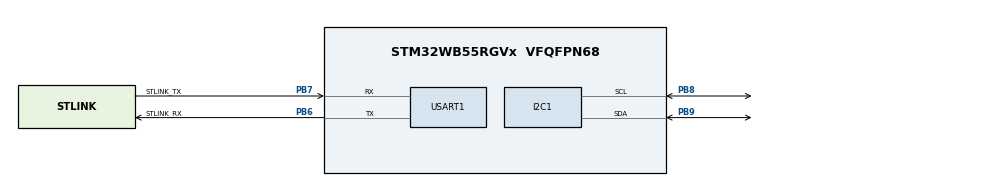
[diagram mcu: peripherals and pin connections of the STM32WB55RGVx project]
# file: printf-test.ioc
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Mcu.Family=STM32WB
PB7.GPIO_PuPd=GPIO_PULLUP
RCC.CortexFreq_Value=64000000
NVIC.I2C1_EV_IRQn=true\:0\:0\:false\:false\:true\:true\:true
PB6.GPIO_PuPd=GPIO_PULLUP
VP_TIM16_VS_ClockSourceINT.Mode=Enable_Timer
PB6.GPIO_Label=STLINK_RX
RCC.AHB2CLKDivider=RCC_SYSCLK_DIV2
RCC.SYSCLKSource=RCC_SYSCLKSOURCE_PLLCLK
ProjectManager.StackSize=0x400
USART1.VirtualMode-Asynchronous=VM_ASYNC
PA13.Signal=SYS_JTMS-SWDIO
ProjectManager.TargetToolchain=STM32CubeIDE
RCC.HCLKFreq_Value=64000000
PB9.Mode=I2C
RCC.APB2TimFreq_Value=64000000
PB6.Signal=USART1_TX
I2C1.Timing=0x10707DBC
PB6.Mode=Asynchronous
RCC.LSE_VALUE=32768
RCC.AHBFreq_Value=64000000
RCC.HSE_VALUE=8000000
PB3.Mode=Trace_Asynchronous_SW
board=custom
RCC.Cortex2_Div=SYSTICK_CLKSOURCE_HCLK_DIV8
RCC.VCOOutputFreq_Value=128000000
TIM16.Period=9999
RCC.APB2Freq_Value=64000000
PA14.Mode=Trace_Asynchronous_SW
PB7.Signal=USART1_RX
PA13.Mode=Trace_Asynchronous_SW
NVIC.I2C1_ER_IRQn=true\:0\:0\:false\:false\:true\:true\:true
Mcu.Name=STM32WB55RGVx
RCC.APB3Freq_Value=16000000
PB7.GPIO_Label=STLINK_TX
PB3.Signal=SYS_JTDO-SWO
RCC.SYSCLKFreq_VALUE=64000000
PB9.Signal=I2C1_SDA
Mcu.Package=VFQFPN68
PB7.Mode=Asynchronous
PA14.Signal=SYS_JTCK-SWCLK
ProjectManager.HeapSize=0x200
RCC.HSI_VALUE=16000000
NVIC.TIM1_UP_TIM16_IRQn=true\:0\:0\:false\:false\:true\:true\:true
NVIC.PriorityGroup=NVIC_PRIORITYGROUP_4
PB9.GPIO_Speed=GPIO_SPEED_FREQ_VERY_HIGH
PB8.Mode=I2C
RCC.PLLN=32
TIM16.AutoReloadPreload=TIM_AUTORELOAD_PRELOAD_ENABLE
RCC.APB1TimFreq_Value=64000000
PB8.Signal=I2C1_SCL
TIM16.Prescaler=3199
NVIC.USART1_IRQn=true\:0\:0\:false\:false\:true\:true\:true
RCC.APB1Freq_Value=64000000
PB8.GPIO_Speed=GPIO_SPEED_FREQ_VERY_HIGH
RCC.HSI48_VALUE=48000000

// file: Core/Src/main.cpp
/* USER CODE BEGIN Header */
/**
  ******************************************************************************
  * @file           : main.c
  * @brief          : Main program body
  ******************************************************************************
  * @attention
  *
  * <h2><center>&copy; Copyright (c) 2021 STMicroelectronics.
  * All rights reserved.</center></h2>
  *
  * This software component is licensed by ST under BSD 3-Clause license,
  * the "License"; You may not use this file except in compliance with the
  * License. You may obtain a copy of the License at:
  *                        opensource.org/licenses/BSD-3-Clause
  *
  ******************************************************************************
  */
/* USER CODE END Header */
#include "main.h"
#include "i2c.h"
#include "tim.h"
#include "usart.h"
#include "gpio.h"

/* USER CODE BEGIN Includes */
#include <stdio.h>

#include "printf_to_uart.c"
#include "Imu.hpp"
/* USER CODE END Includes */

/* USER CODE BEGIN PV */
//-====
//-====
/*flags*/
uint8_t MPU9250_DataRdyFlag = 0;
uint8_t initDataRdy = 0;
uint8_t magCalibrateFlag = 1;

/*mag calibration data*/
static float mx_centre;
static float my_centre;
static float mz_centre;

float Axyz[3];
float Gxyz[3];
float Mxyz[3];

float gravity[3];
float MagConst[3];
float gyroBias[3];
//====
//====
/* USER CODE END PV */

void SystemClock_Config(void);
/* USER CODE BEGIN PFP */
//-====
//-====
void getGyroData();
void getAccelData();
void getCompassData();
void getRawCompassData();
void calibrateMag();
void getRawGyroData();
//====
//====
/* USER CODE END PFP */

/* USER CODE BEGIN 0 */
//-====
Imu *myMPU = new Imu (&hi2c1);
//====
/* USER CODE END 0 */

int main(void)
{

  /* MCU Configuration--------------------------------------------------------*/

  /* Reset of all peripherals, Initializes the Flash interface and the Systick. */
  HAL_Init();

  /* Configure the system clock */
  SystemClock_Config();

  /* Initialize all configured peripherals */
  MX_GPIO_Init();
  MX_TIM16_Init();
  MX_USART1_UART_Init();
  MX_I2C1_Init();
  /* USER CODE BEGIN 2 */

//  -====
//  -====Uruchomienie TIM16
  HAL_TIM_Base_Start_IT(&htim16);

  uint8_t deviceID;
  deviceID = myMPU->getDeviceID();
  if (deviceID == 0x71)
  {
	  myMPU->initialize();//initialize
  }
  else
  {
	  printf("ID wrong");
	  return 0;
  }

  printf("Device OK, reading data \r\n");
//  ====
//  ====

  /* USER CODE END 2 */

  /* Infinite loop */
  /* USER CODE BEGIN WHILE */
//  -====
//  -====
  if(magCalibrateFlag)
  {
	  calibrateMag();
	  printf("Mag Calibration done! \r\n");
	  HAL_Delay(4000);
	  printf("Put the device to rest!! \r\n");
  }

  HAL_Delay(4000);

  //enable interrupt
  myMPU->enableInterrupt();

  uint8_t counter = 0;

  float sMag[3] = {0.0f,0.0f,0.0f};
  float sAcc[3] = {0.0f,0.0f,0.0f};
  float sGyro[3] = {0.0f,0.0f,0.0f};
  myMPU->readIntStatus();
  while (1)
  {
//	  if (!initDataRdy)
//	  {
//		  if (MPU9250_DataRdyFlag)
//		  {
//			  getRawGyroData();
//			  getAccelData();
//			  getCompassData();
//			  if(counter<100)
//			  {
//				  for (int i=0;i<3;i++)
//				  {
//					  sMag[i] = sMag[i] + Mxyz[i];
//					  sAcc[i] = sAcc[i] + Axyz[i];
//					  sGyro[i] = sGyro[i] + Gxyz[i];
//				  }
//				  counter = counter+1;
//			  }
//			  if (counter==100)
//			  {
//				  for (int i=0;i<3;i++)
//				  {
//					  MagConst[i] = sMag[i]/100;
//					  gravity[i] = sAcc[i]/100;
//					  gyroBias[i] = sGyro[i]/100;
//				  }
//				  initDataRdy = 1;
//			  }
//		  }
//		  else
//		  {
//			  /*data not ready*/
////			  printf("Data not Ready \r\n");
//		  }
//	  }
//	  else
//	  {
//		  if (MPU9250_DataRdyFlag)
//		  {
//			  /*get data*/
//			  getGyroData();
//			  getAccelData();
//			  getCompassData();
//			  printf("%f %f %f %f %f %f %f %f %f \r\n",Gxyz[0],Gxyz[1],Gxyz[2],Axyz[0],Axyz[1],Axyz[2],Mxyz[0],Mxyz[1],Mxyz[2]);
//
//			  /*clear flag and interrupt status*/
//			  MPU9250_DataRdyFlag = 0;
//			  myMPU->readIntStatus();
//
//			  /*collect steady state gyro measurement by averaging intial 50 gyromeasurement.*/
//
//			  /*mag initial data collected, lets go!!*/
//		  }
//		  else
//		  {
//			  /*data not ready*/
//			  printf("Data not Ready \r\n");
//		  }
//	  }
//	  ====
//	  ====
    /* USER CODE END WHILE */

  }
}

void SystemClock_Config(void)
{
  RCC_OscInitTypeDef RCC_OscInitStruct = {0};
  RCC_ClkInitTypeDef RCC_ClkInitStruct = {0};
  RCC_PeriphCLKInitTypeDef PeriphClkInitStruct = {0};

  /** Configure the main internal regulator output voltage
  */
  __HAL_PWR_VOLTAGESCALING_CONFIG(PWR_REGULATOR_VOLTAGE_SCALE1);
  /** Initializes the RCC Oscillators according to the specified parameters
  * in the RCC_OscInitTypeDef structure.
  */
  RCC_OscInitStruct.OscillatorType = RCC_OSCILLATORTYPE_HSI|RCC_OSCILLATORTYPE_MSI;
  RCC_OscInitStruct.HSIState = RCC_HSI_ON;
  RCC_OscInitStruct.MSIState = RCC_MSI_ON;
  RCC_OscInitStruct.HSICalibrationValue = RCC_HSICALIBRATION_DEFAULT;
  RCC_OscInitStruct.MSICalibrationValue = RCC_MSICALIBRATION_DEFAULT;
  RCC_OscInitStruct.MSIClockRange = RCC_MSIRANGE_6;
  RCC_OscInitStruct.PLL.PLLState = RCC_PLL_ON;
  RCC_OscInitStruct.PLL.PLLSource = RCC_PLLSOURCE_MSI;
  RCC_OscInitStruct.PLL.PLLM = RCC_PLLM_DIV1;
  RCC_OscInitStruct.PLL.PLLN = 32;
  RCC_OscInitStruct.PLL.PLLP = RCC_PLLP_DIV2;
  RCC_OscInitStruct.PLL.PLLR = RCC_PLLR_DIV2;
  RCC_OscInitStruct.PLL.PLLQ = RCC_PLLQ_DIV2;
  if (HAL_RCC_OscConfig(&RCC_OscInitStruct) != HAL_OK)
  {
    Error_Handler();
  }
  /** Configure the SYSCLKSource, HCLK, PCLK1 and PCLK2 clocks dividers
  */
  RCC_ClkInitStruct.ClockType = RCC_CLOCKTYPE_HCLK4|RCC_CLOCKTYPE_HCLK2
                              |RCC_CLOCKTYPE_HCLK|RCC_CLOCKTYPE_SYSCLK
                              |RCC_CLOCKTYPE_PCLK1|RCC_CLOCKTYPE_PCLK2;
  RCC_ClkInitStruct.SYSCLKSource = RCC_SYSCLKSOURCE_PLLCLK;
  RCC_ClkInitStruct.AHBCLKDivider = RCC_SYSCLK_DIV1;
  RCC_ClkInitStruct.APB1CLKDivider = RCC_HCLK_DIV1;
  RCC_ClkInitStruct.APB2CLKDivider = RCC_HCLK_DIV1;
  RCC_ClkInitStruct.AHBCLK2Divider = RCC_SYSCLK_DIV2;
  RCC_ClkInitStruct.AHBCLK4Divider = RCC_SYSCLK_DIV1;

  if (HAL_RCC_ClockConfig(&RCC_ClkInitStruct, FLASH_LATENCY_3) != HAL_OK)
  {
    Error_Handler();
  }
  /** Initializes the peripherals clocks
  */
  PeriphClkInitStruct.PeriphClockSelection = RCC_PERIPHCLK_SMPS|RCC_PERIPHCLK_USART1
                              |RCC_PERIPHCLK_I2C1;
  PeriphClkInitStruct.Usart1ClockSelection = RCC_USART1CLKSOURCE_PCLK2;
  PeriphClkInitStruct.I2c1ClockSelection = RCC_I2C1CLKSOURCE_PCLK1;
  PeriphClkInitStruct.SmpsClockSelection = RCC_SMPSCLKSOURCE_HSI;
  PeriphClkInitStruct.SmpsDivSelection = RCC_SMPSCLKDIV_RANGE1;
  if (HAL_RCCEx_PeriphCLKConfig(&PeriphClkInitStruct) != HAL_OK)
  {
    Error_Handler();
  }
}

/* USER CODE BEGIN 4 */
//====
//====Callback wywołany gdy timer odliczy ustawiony czas
void HAL_TIM_PeriodElapsedCallback(TIM_HandleTypeDef *htim)
{
	getGyroData();
	getAccelData();
	getCompassData();
	printf("Gyro: %f %f %f Accel: %f %f %f Compass: %f %f %f \r\n",Gxyz[0],Gxyz[1],Gxyz[2],Axyz[0],Axyz[1],Axyz[2],Mxyz[0],Mxyz[1],Mxyz[2]);

	if(htim->Instance == TIM16)
	{
		printf("---timer--- \n");
	}
}

void getGyroData()
{
  int16_t gx, gy, gz;
  myMPU->getRotation(&gx, &gy, &gz);
  Gxyz[0] = (float) gx * 500 / 32768;//131 LSB(??/s)
  Gxyz[1] = (float) gy * 500 / 32768;
  Gxyz[2] = (float) gz * 500 / 32768;
  Gxyz[0] = Gxyz[0] - gyroBias[0];
  Gxyz[1] = Gxyz[1] - gyroBias[1];
  Gxyz[2] = Gxyz[1] - gyroBias[2];
  //High Pass Filter -> remove all values that are less than 0.05dps.
  for (int i=0;i<3;i++){
    if(Gxyz[i]<0.05){
      Gxyz[i]=0;
    }
  }
}

void getRawGyroData()
{
	int16_t gx, gy, gz;
	myMPU->getRotation(&gx, &gy, &gz);
	Gxyz[0] = (float) gx * 500 / 32768;//131 LSB(??/s)
	Gxyz[1] = (float) gy * 500 / 32768;
	Gxyz[2] = (float) gz * 500 / 32768;
}

void getAccelData(){
	int16_t ax, ay, az;
	myMPU->getAcceleration(&ax,&ay,&az);
	Axyz[0] = (float) ax / 16384;//16384  LSB/g
	Axyz[1] = (float) ay / 16384;
	Axyz[2] = (float) az / 16384;
}

void getCompassData(){
	uint8_t dataReady = myMPU->getCompassDataReady();
	if (dataReady == 1){
		int16_t mx, my, mz;
		myMPU->getMagData(&mx,&my,&mz);
		//14 bit output.
		Mxyz[0] = (float) mx * 4912 / 8192;
		Mxyz[1] = (float) my * 4912 / 8192;
		Mxyz[2] = (float) mz * 4912 / 8192;
		Mxyz[0] = Mxyz[0] - mx_centre;
		Mxyz[1] = Mxyz[1] - my_centre;
		Mxyz[2] = Mxyz[2] - mz_centre;

		/*frame transformation -> coz mag is mounted on different axies with gyro and accel*/
		float temp = Mxyz[0];
		Mxyz[0] = Mxyz[1];
		Mxyz[1] = temp;
		Mxyz[2] = Mxyz[2]*(-1);
	}
}

void getRawCompassData(){
	uint8_t dataReady = myMPU->getCompassDataReady();
	if (dataReady == 1){
		int16_t mx, my, mz;
		myMPU->getMagData(&mx,&my,&mz);
		//14 bit output.
		Mxyz[0] = (float) mx * 4912 / 8192;
		Mxyz[1] = (float) my * 4912 / 8192;
		Mxyz[2] = (float) mz * 4912 / 8192;
	}else{
		printf("Mag data not ready, using original data");
	}
}

void calibrateMag(){
  uint16_t ii = 0, sample_count = 0;
  float mag_max[3] = {1,1,1};
  float mag_min[3] = {-1,-1,-1};

  printf("Mag Calibration: Wave device in a figure eight until done! \r\n");
  HAL_Delay(2000);

  sample_count = 100;
  for(ii = 0; ii < sample_count; ii++) {
    getRawCompassData();  // Read the mag data
    for (int jj = 0; jj < 3; jj++) {
      if(Mxyz[jj] > mag_max[jj]) mag_max[jj] = Mxyz[jj];
      if(Mxyz[jj] < mag_min[jj]) mag_min[jj] = Mxyz[jj];
    }
    HAL_Delay(200);
  }

  // Get hard iron correction
  mx_centre  = (mag_max[0] + mag_min[0])/2;  // get average x mag bias in counts
  my_centre  = (mag_max[1] + mag_min[1])/2;  // get average y mag bias in counts
  mz_centre  = (mag_max[2] + mag_min[2])/2;  // get average z mag bias in counts

  // Get soft iron correction estimate
  /*
  mag_scale[0]  = (mag_max[0] - mag_min[0])/2;  // get average x axis max chord length in counts
  mag_scale[1]  = (mag_max[1] - mag_min[1])/2;  // get average y axis max chord length in counts
  mag_scale[2]  = (mag_max[2] - mag_min[2])/2;  // get average z axis max chord length in counts
  float avg_rad = mag_scale[0] + mag_scale[1] + mag_scale[2];
  avg_rad /= 3.0;
  dest2[0] = avg_rad/((float)mag_scale[0]);
  dest2[1] = avg_rad/((float)mag_scale[1]);
  dest2[2] = avg_rad/((float)mag_scale[2]);
  */
}
//====
//====
/* USER CODE END 4 */

void Error_Handler(void)
{
  __disable_irq();
  while (1)
  {
  }
}

/************************ (C) COPYRIGHT STMicroelectronics *****END OF FILE****/
